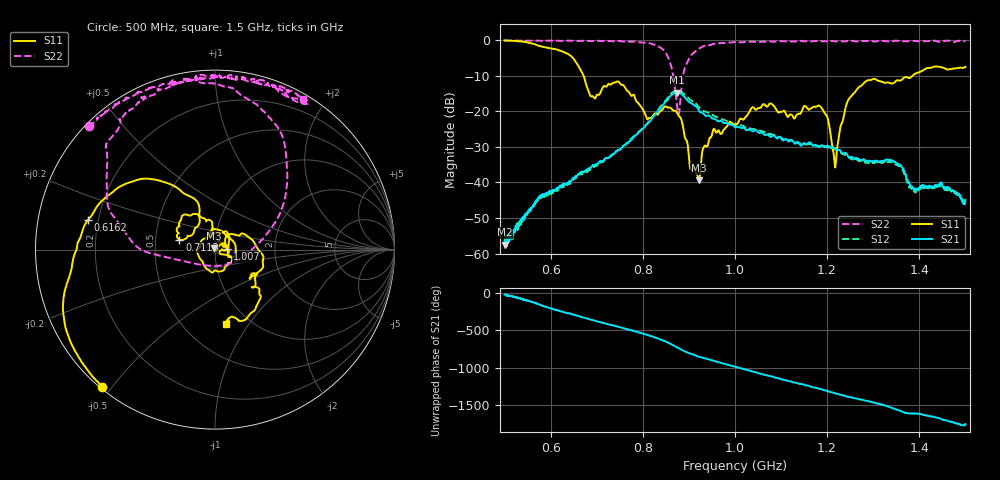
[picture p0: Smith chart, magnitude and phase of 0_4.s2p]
!Agilent Technologies,E8364B,US42250235,A.06.04.32
!Agilent E8364B: A.06.04.32
!Date: Friday, January 15, 2021 16:22:55
!Correction: S11(Full 2 Port(1,2)) S21(Full 2 Port(1,2)) S12(Full 2 Port(1,2)) S22(Full 2 Port(1,2))
!S2P File: Measurements: S11, S21, S12, S22:
# Hz S  dB  R 50
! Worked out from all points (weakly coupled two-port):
!   1601 points, 500 MHz to 1.5 GHz, reference 50 ohm
!   highest |S21| = -14.80 dB at 873.1 MHz (marker M1); lowest = -57.5 dB at 500 MHz (marker M2)
!   lowest |S11| = -39.4 dB at 921.9 MHz (marker M3), VSWR 1.02, Z = 49.2 + j0.755 ohm
!   |S11| at or under -10 dB: 671.5 MHz to 1.385 GHz (713.8 MHz wide, 69.4 % of centre)
!   |S22| runs from -20.8 to -0.1 dB; largest |S21 - S12| = 0.025
!   S11 on the Smith chart (normalised r, x): 500 MHz: 0.01, -0.47; 616.2 MHz: 0.16, +0.11; 711.2 MHz: 0.67, +0.08; 1.007 GHz: 1.15, +0.00; 1.5 GHz: 0.78, -0.79
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5e8  -0.11 -129.4  -57.46 -18.3  -57.34 -12.3  -0.15 135.6
6.1625e8  -2.79 166.7  -41.70 128.0  -42.24 132.0  -0.19 123.0
6.66875e8  -8.93 119.0  -36.94 39.5  -37.59 42.6  -0.21 115.6
6.89375e8  -15.76 131.3  -35.55 2.6  -36.07 8.0  -0.27 113.3
7.1125e8  -13.72 164.2  -34.07 -36.6  -34.30 -29.6  -0.26 111.6
7.46875e8  -11.69 131.6  -30.91 -93.5  -30.93 -86.8  -0.26 103.7
8.3375e8  -20.72 108.8  -19.84 108.7  -19.47 114.9  -1.79 70.2
8.58125e8  -18.98 79.9  -15.96 45.8  -15.49 52.1  -5.98 38.3
8.73125e8  -20.18 36.1  -14.80 -5.2  -14.20 1.1  -17.21 -25.2
8.7875e8  -21.45 26.9  -14.90 -23.6  -14.26 -17.7  -20.36 -110.7
8.94375e8  -28.09 4.2  -16.52 -72.1  -15.75 -65.8  -6.82 175.6
9.21875e8  -39.39 134.4  -19.88 -135.5  -18.92 -130.6  -2.39 142.4
9.5125e8  -25.84 73.4  -22.03 174.4  -21.04 175.8  -1.18 127.3
1e9  -23.66 11.9  -24.49 90.4  -23.74 91.8  -0.52 114.9
1.006875e9  -23.22 1.6  -24.38 80.5  -23.82 81.5  -0.55 115.6
1.166875e9  -19.03 23.0  -29.30 177.6  -29.28 -178.4  -0.34 90.3
1.1975e9  -21.02 -23.8  -29.98 132.1  -30.06 130.0  -0.34 89.1
1.216875e9  -35.37 -6.9  -30.44 93.5  -30.70 95.9  -0.36 88.2
1.249375e9  -16.15 29.8  -33.07 44.0  -33.13 43.9  -0.21 83.6
1.33375e9  -11.95 -39.2  -33.72 -87.5  -34.19 -82.0  -0.38 75.5
1.390625e9  -9.49 -42.5  -41.91 -178.8  -42.65 -173.3  -0.24 70.7
1.5e9  -7.50 -81.4  -44.88 39.1  -45.53 29.6  -0.26 59.7
